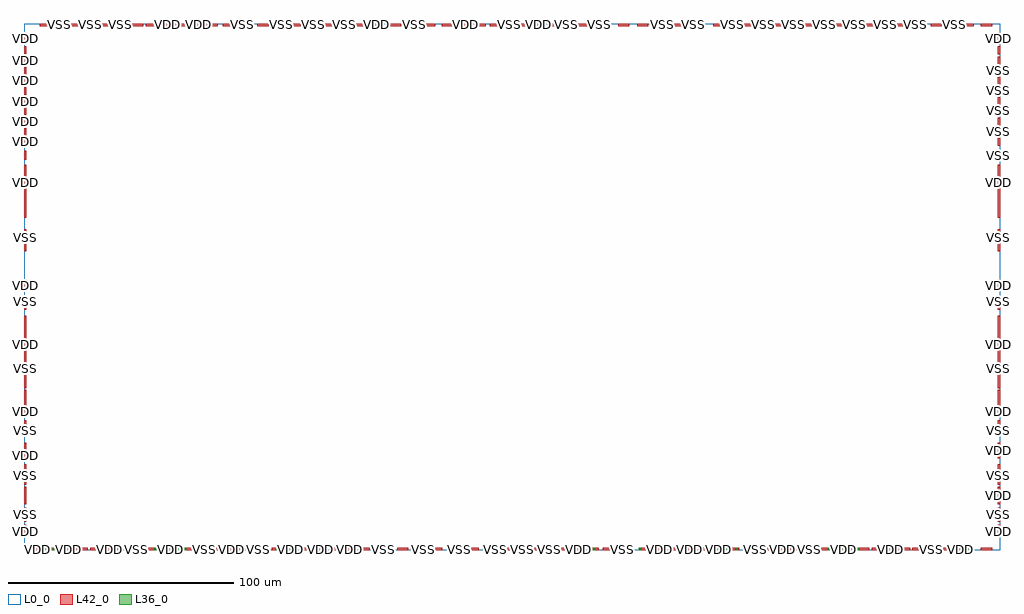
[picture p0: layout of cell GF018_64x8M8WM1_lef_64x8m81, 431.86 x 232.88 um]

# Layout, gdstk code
import gdstk
lib = gdstk.Library(unit=1e-6, precision=1e-09)
def R(c, l, rs):  # rectangles x0, y0, x1, y1
    for r in rs: c.add(gdstk.rectangle(r[:2], r[2:], *l))
def A(c, l, x, y, w, h, nx, ny, dx, dy):  # array of equal rectangles
    R(c, l, [(x+i*dx, y+j*dy, x+i*dx+w, y+j*dy+h) for i in range(nx) for j in range(ny)])
L0_0 = (0, 0)
L36_0 = (36, 0)
L42_0 = (42, 0)

gf018_64x8m8wm1_lef_64x8 = lib.new_cell('GF018_64x8M8WM1_lef_64x8m81')
R(gf018_64x8m8wm1_lef_64x8, L0_0, [(0,0,431.86,232.88)])
A(gf018_64x8m8wm1_lef_64x8, L42_0, 17.21, 0, 5, 1, 7, 1, 6, 0)
A(gf018_64x8m8wm1_lef_64x8, L42_0, 71.21, 0, 5, 1, 6, 1, 6, 0)
A(gf018_64x8m8wm1_lef_64x8, L42_0, 115.55, 0, 5, 1, 6, 1, 6.5, 0)
A(gf018_64x8m8wm1_lef_64x8, L42_0, 206.165, 0, 5, 1, 6, 1, 6, 0)
A(gf018_64x8m8wm1_lef_64x8, L42_0, 272.29, 0, 5, 1, 6, 1, 6.5, 0)
A(gf018_64x8m8wm1_lef_64x8, L42_0, 321.09, 0, 5, 1, 6, 1, 6, 0)
A(gf018_64x8m8wm1_lef_64x8, L42_0, 369.09, 0, 5, 1, 7, 1, 6, 0)
A(gf018_64x8m8wm1_lef_64x8, L42_0, 0, 178.88, 1, 3.5, 1, 10, 0, 4.5)
A(gf018_64x8m8wm1_lef_64x8, L42_0, 430.86, 178.88, 1, 3.5, 1, 10, 0, 4.5)
R(gf018_64x8m8wm1_lef_64x8, L42_0, [(3.53,0,8.53,1), (10.195,0,15.195,1), (62.215,0,67.215,1), (109.55,0,114.55,1), (156.62,0,161.62,1), (165.11,0,170.11,1), (174.155,0,179.155,1), (180.155,0,185.155,1), (190.14,0,195.14,1), (196.14,0,201.14,1), (242.83,0,247.83,1), (249.38,0,254.38,1), (256.165,0,261.165,1), (262.39,0,267.39,1), (311.475,0,316.475,1), (360.085,0,365.085,1), (412.095,0,417.095,1), (423.33,0,428.33,1), (0,6.16,1,11.16), (430.86,6.16,431.86,11.16), (0,12.51,1,18.86), (430.86,12.51,431.86,18.86), (0,20.3,1,28.145), (430.86,20.3,431.86,28.145), (0,28.83,1,37.98), (430.86,28.83,431.86,37.98), (0,40.76,1,47.575), (430.86,40.76,431.86,47.575), (0,50.88,1,57.465), (430.86,50.88,431.86,57.465), (0,60.18,1,70.89), (430.86,60.18,431.86,70.89), (0,71.64,1,88.65), (430.86,71.64,431.86,88.65), (0,90.08,1,103.695), (430.86,90.08,431.86,103.695), (0,106.41,1,111.41), (430.86,106.41,431.86,111.41), (0,114.69,1,119.69), (430.86,114.69,431.86,119.69), (0,132.175,1,142.08), (430.86,132.175,431.86,142.08), (0,147.15,1,170.625), (430.86,147.15,431.86,170.625), (0,172.68,1,176.63), (430.86,172.68,431.86,176.63), (0,223.88,1,228.88), (430.86,223.88,431.86,228.88), (7.005,231.88,12.005,232.88), (13.13,231.88,18.13,232.88), (20.685,231.88,25.685,232.88), (26.81,231.88,31.81,232.88), (34.005,231.88,39.005,232.88), (40.13,231.88,45.13,232.88), (47.685,231.88,52.685,232.88), (53.81,231.88,58.81,232.88), (61.005,231.88,66.005,232.88), (67.13,231.88,72.13,232.88), (74.685,231.88,79.685,232.88), (80.81,231.88,85.81,232.88), (88.005,231.88,93.005,232.88), (94.13,231.88,99.13,232.88), (103.265,231.88,108.265,232.88), (111.29,231.88,116.29,232.88), (117.415,231.88,122.415,232.88), (125.79,231.88,130.79,232.88), (132.86,231.88,137.86,232.88), (139.385,231.88,144.385,232.88), (146.365,231.88,151.365,232.88), (153.55,231.88,158.55,232.88), (161.905,231.88,166.905,232.88), (170.12,231.88,175.12,232.88), (177.075,231.88,182.075,232.88), (184.74,231.88,189.74,232.88), (192.925,231.88,197.925,232.88), (199.41,231.88,204.41,232.88), (206.15,231.88,211.15,232.88), (212.15,231.88,217.15,232.88), (218.565,231.88,223.565,232.88), (225.345,231.88,230.345,232.88), (231.565,231.88,236.565,232.88), (237.69,231.88,242.69,232.88), (244.505,231.88,249.505,232.88), (252.325,231.88,257.325,232.88), (262.845,231.88,267.845,232.88), (271.31,231.88,276.31,232.88), (279.95,231.88,284.95,232.88), (287.735,231.88,292.735,232.88), (293.955,231.88,298.955,232.88), (304.885,231.88,309.885,232.88), (311.01,231.88,316.01,232.88), (318.565,231.88,323.565,232.88), (324.69,231.88,329.69,232.88), (331.885,231.88,336.885,232.88), (338.01,231.88,343.01,232.88), (345.565,231.88,350.565,232.88), (351.69,231.88,356.69,232.88), (358.885,231.88,363.885,232.88), (365.01,231.88,370.01,232.88), (372.565,231.88,377.565,232.88), (378.69,231.88,383.69,232.88), (385.885,231.88,390.885,232.88), (392.01,231.88,397.01,232.88), (401.145,231.88,406.145,232.88), (409.17,231.88,414.17,232.88), (415.295,231.88,420.295,232.88), (423.33,231.88,428.33,232.88)])
gf018_64x8m8wm1_lef_64x8.add(gdstk.FlexPath([(67.83,0),(67.83,1)], 1.12, ends="flush", simple_path=True, layer=36, datatype=0))  # L36_0
gf018_64x8m8wm1_lef_64x8.add(gdstk.FlexPath([(65.83,0),(65.83,1)], 1.12, ends="flush", simple_path=True, layer=36, datatype=0))  # L36_0
gf018_64x8m8wm1_lef_64x8.add(gdstk.FlexPath([(154.855,0),(154.855,1)], 1.12, ends="flush", simple_path=True, layer=36, datatype=0))  # L36_0
gf018_64x8m8wm1_lef_64x8.add(gdstk.FlexPath([(163.32,0),(163.32,1)], 1.12, ends="flush", simple_path=True, layer=36, datatype=0))  # L36_0
gf018_64x8m8wm1_lef_64x8.add(gdstk.FlexPath([(171.775,0),(171.775,1)], 1.12, ends="flush", simple_path=True, layer=36, datatype=0))  # L36_0
gf018_64x8m8wm1_lef_64x8.add(gdstk.FlexPath([(203.5,0),(203.5,1)], 1.12, ends="flush", simple_path=True, layer=36, datatype=0))  # L36_0
gf018_64x8m8wm1_lef_64x8.add(gdstk.FlexPath([(252.27,0),(252.27,1)], 1.12, ends="flush", simple_path=True, layer=36, datatype=0))  # L36_0
gf018_64x8m8wm1_lef_64x8.add(gdstk.FlexPath([(272.645,0),(272.645,1)], 1.12, ends="flush", simple_path=True, layer=36, datatype=0))  # L36_0
gf018_64x8m8wm1_lef_64x8.add(gdstk.FlexPath([(276.38,0),(276.38,1)], 1.12, ends="flush", simple_path=True, layer=36, datatype=0))  # L36_0
gf018_64x8m8wm1_lef_64x8.add(gdstk.FlexPath([(281.885,0),(281.885,1)], 1.12, ends="flush", simple_path=True, layer=36, datatype=0))  # L36_0
gf018_64x8m8wm1_lef_64x8.add(gdstk.FlexPath([(307.795,0),(307.795,1)], 1.12, ends="flush", simple_path=True, layer=36, datatype=0))  # L36_0
gf018_64x8m8wm1_lef_64x8.add(gdstk.FlexPath([(311.135,0),(311.135,1)], 1.12, ends="flush", simple_path=True, layer=36, datatype=0))  # L36_0
gf018_64x8m8wm1_lef_64x8.add(gdstk.FlexPath([(315.35,0),(315.35,1)], 1.12, ends="flush", simple_path=True, layer=36, datatype=0))  # L36_0
gf018_64x8m8wm1_lef_64x8.add(gdstk.FlexPath([(356.105,0),(356.105,1)], 1.12, ends="flush", simple_path=True, layer=36, datatype=0))  # L36_0
gf018_64x8m8wm1_lef_64x8.add(gdstk.FlexPath([(359.47,0),(359.47,1)], 1.12, ends="flush", simple_path=True, layer=36, datatype=0))  # L36_0
gf018_64x8m8wm1_lef_64x8.add(gdstk.FlexPath([(361.46,0),(361.46,1)], 1.12, ends="flush", simple_path=True, layer=36, datatype=0))  # L36_0
gf018_64x8m8wm1_lef_64x8.add(gdstk.FlexPath([(363.71,0),(363.71,1)], 1.12, ends="flush", simple_path=True, layer=36, datatype=0))  # L36_0
gf018_64x8m8wm1_lef_64x8.add(gdstk.FlexPath([(365.71,0),(365.71,1)], 1.12, ends="flush", simple_path=True, layer=36, datatype=0))  # L36_0
gf018_64x8m8wm1_lef_64x8.add(gdstk.FlexPath([(369.075,0),(369.075,1)], 1.12, ends="flush", simple_path=True, layer=36, datatype=0))  # L36_0
gf018_64x8m8wm1_lef_64x8.add(gdstk.FlexPath([(409.835,0),(409.835,1)], 1.12, ends="flush", simple_path=True, layer=36, datatype=0))  # L36_0
gf018_64x8m8wm1_lef_64x8.add(gdstk.FlexPath([(414.035,0),(414.035,1)], 1.12, ends="flush", simple_path=True, layer=36, datatype=0))  # L36_0
gf018_64x8m8wm1_lef_64x8.add(gdstk.FlexPath([(71.195,0),(71.195,1)], 1.12, ends="flush", simple_path=True, layer=36, datatype=0))  # L36_0
gf018_64x8m8wm1_lef_64x8.add(gdstk.FlexPath([(111.955,0),(111.955,1)], 1.12, ends="flush", simple_path=True, layer=36, datatype=0))  # L36_0
gf018_64x8m8wm1_lef_64x8.add(gdstk.FlexPath([(117.58,0),(117.58,1)], 1.12, ends="flush", simple_path=True, layer=36, datatype=0))  # L36_0
gf018_64x8m8wm1_lef_64x8.add(gdstk.FlexPath([(119.535,0),(119.535,1)], 1.12, ends="flush", simple_path=True, layer=36, datatype=0))  # L36_0
gf018_64x8m8wm1_lef_64x8.add(gdstk.FlexPath([(140.24,0),(140.24,1)], 1.12, ends="flush", simple_path=True, layer=36, datatype=0))  # L36_0
gf018_64x8m8wm1_lef_64x8.add(gdstk.FlexPath([(417.42,0),(417.42,1)], 1.12, ends="flush", simple_path=True, layer=36, datatype=0))  # L36_0
gf018_64x8m8wm1_lef_64x8.add(gdstk.FlexPath([(9.88,0),(9.88,1)], 1.12, ends="flush", simple_path=True, layer=36, datatype=0))  # L36_0
gf018_64x8m8wm1_lef_64x8.add(gdstk.FlexPath([(13.255,0),(13.255,1)], 1.12, ends="flush", simple_path=True, layer=36, datatype=0))  # L36_0
gf018_64x8m8wm1_lef_64x8.add(gdstk.FlexPath([(17.46,0),(17.46,1)], 1.12, ends="flush", simple_path=True, layer=36, datatype=0))  # L36_0
gf018_64x8m8wm1_lef_64x8.add(gdstk.FlexPath([(58.225,0),(58.225,1)], 1.12, ends="flush", simple_path=True, layer=36, datatype=0))  # L36_0
gf018_64x8m8wm1_lef_64x8.add(gdstk.FlexPath([(61.59,0),(61.59,1)], 1.12, ends="flush", simple_path=True, layer=36, datatype=0))  # L36_0
gf018_64x8m8wm1_lef_64x8.add(gdstk.FlexPath([(63.58,0),(63.58,1)], 1.12, ends="flush", simple_path=True, layer=36, datatype=0))  # L36_0
gf018_64x8m8wm1_lef_64x8.add(gdstk.Label('VDD', (431.4,117.12), layer=42, texttype=10))
gf018_64x8m8wm1_lef_64x8.add(gdstk.Label('VSS', (431.4,194.45), layer=42, texttype=10))
gf018_64x8m8wm1_lef_64x8.add(gdstk.Label('VSS', (431.4,174.47), layer=42, texttype=10))
gf018_64x8m8wm1_lef_64x8.add(gdstk.Label('VSS', (354.19,232.415), layer=42, texttype=10))
gf018_64x8m8wm1_lef_64x8.add(gdstk.Label('VSS', (431.4,185.45), layer=42, texttype=10))
gf018_64x8m8wm1_lef_64x8.add(gdstk.Label('VSS', (313.51,232.415), layer=42, texttype=10))
gf018_64x8m8wm1_lef_64x8.add(gdstk.Label('VSS', (411.67,232.415), layer=42, texttype=10))
gf018_64x8m8wm1_lef_64x8.add(gdstk.Label('VSS', (381.19,232.415), layer=42, texttype=10))
gf018_64x8m8wm1_lef_64x8.add(gdstk.Label('VSS', (296.455,232.415), layer=42, texttype=10))
gf018_64x8m8wm1_lef_64x8.add(gdstk.Label('VDD', (227.845,232.415), layer=42, texttype=10))
gf018_64x8m8wm1_lef_64x8.add(gdstk.Label('VDD', (234.065,232.415), layer=42, texttype=10))
gf018_64x8m8wm1_lef_64x8.add(gdstk.Label('VSS', (221.065,232.415), layer=42, texttype=10))
gf018_64x8m8wm1_lef_64x8.add(gdstk.Label('VSS', (254.825,232.415), layer=42, texttype=10))
gf018_64x8m8wm1_lef_64x8.add(gdstk.Label('VDD', (417.795,232.415), layer=42, texttype=10))
gf018_64x8m8wm1_lef_64x8.add(gdstk.Label('VDD', (388.385,232.415), layer=42, texttype=10))
gf018_64x8m8wm1_lef_64x8.add(gdstk.Label('VDD', (348.065,232.415), layer=42, texttype=10))
gf018_64x8m8wm1_lef_64x8.add(gdstk.Label('VDD', (307.385,232.415), layer=42, texttype=10))
gf018_64x8m8wm1_lef_64x8.add(gdstk.Label('VDD', (403.645,232.415), layer=42, texttype=10))
gf018_64x8m8wm1_lef_64x8.add(gdstk.Label('VDD', (290.235,232.415), layer=42, texttype=10))
gf018_64x8m8wm1_lef_64x8.add(gdstk.Label('VSS', (240.19,232.415), layer=42, texttype=10))
gf018_64x8m8wm1_lef_64x8.add(gdstk.Label('VDD', (265.345,232.415), layer=42, texttype=10))
gf018_64x8m8wm1_lef_64x8.add(gdstk.Label('VSS', (282.45,232.415), layer=42, texttype=10))
gf018_64x8m8wm1_lef_64x8.add(gdstk.Label('VDD', (431.4,226.38), layer=42, texttype=10))
gf018_64x8m8wm1_lef_64x8.add(gdstk.Label('VDD', (273.81,232.415), layer=42, texttype=10))
gf018_64x8m8wm1_lef_64x8.add(gdstk.Label('VDD', (247.005,232.415), layer=42, texttype=10))
gf018_64x8m8wm1_lef_64x8.add(gdstk.Label('VDD', (375.065,232.415), layer=42, texttype=10))
gf018_64x8m8wm1_lef_64x8.add(gdstk.Label('VDD', (431.4,198.63), layer=42, texttype=10))
gf018_64x8m8wm1_lef_64x8.add(gdstk.Label('VSS', (431.4,212.45), layer=42, texttype=10))
gf018_64x8m8wm1_lef_64x8.add(gdstk.Label('VDD', (321.065,232.415), layer=42, texttype=10))
gf018_64x8m8wm1_lef_64x8.add(gdstk.Label('VDD', (431.4,207.63), layer=42, texttype=10))
gf018_64x8m8wm1_lef_64x8.add(gdstk.Label('VDD', (361.385,232.415), layer=42, texttype=10))
gf018_64x8m8wm1_lef_64x8.add(gdstk.Label('VDD', (425.83,232.415), layer=42, texttype=10))
gf018_64x8m8wm1_lef_64x8.add(gdstk.Label('VDD', (431.4,216.63), layer=42, texttype=10))
gf018_64x8m8wm1_lef_64x8.add(gdstk.Label('VSS', (431.4,203.45), layer=42, texttype=10))
gf018_64x8m8wm1_lef_64x8.add(gdstk.Label('VSS', (431.4,221.45), layer=42, texttype=10))
gf018_64x8m8wm1_lef_64x8.add(gdstk.Label('VSS', (340.51,232.415), layer=42, texttype=10))
gf018_64x8m8wm1_lef_64x8.add(gdstk.Label('VSS', (367.51,232.415), layer=42, texttype=10))
gf018_64x8m8wm1_lef_64x8.add(gdstk.Label('VSS', (327.19,232.415), layer=42, texttype=10))
gf018_64x8m8wm1_lef_64x8.add(gdstk.Label('VSS', (394.51,232.415), layer=42, texttype=10))
gf018_64x8m8wm1_lef_64x8.add(gdstk.Label('VDD', (431.4,162.595), layer=42, texttype=10))
gf018_64x8m8wm1_lef_64x8.add(gdstk.Label('VDD', (431.4,189.63), layer=42, texttype=10))
gf018_64x8m8wm1_lef_64x8.add(gdstk.Label('VDD', (431.4,180.63), layer=42, texttype=10))
gf018_64x8m8wm1_lef_64x8.add(gdstk.Label('VSS', (431.4,138.295), layer=42, texttype=10))
gf018_64x8m8wm1_lef_64x8.add(gdstk.Label('VDD', (334.385,232.415), layer=42, texttype=10))
gf018_64x8m8wm1_lef_64x8.add(gdstk.Label('VDD', (63.505,232.415), layer=42, texttype=10))
gf018_64x8m8wm1_lef_64x8.add(gdstk.Label('VSS', (15.63,232.415), layer=42, texttype=10))
gf018_64x8m8wm1_lef_64x8.add(gdstk.Label('VSS', (69.63,232.415), layer=42, texttype=10))
gf018_64x8m8wm1_lef_64x8.add(gdstk.Label('VSS', (96.63,232.415), layer=42, texttype=10))
gf018_64x8m8wm1_lef_64x8.add(gdstk.Label('VSS', (141.885,232.415), layer=42, texttype=10))
gf018_64x8m8wm1_lef_64x8.add(gdstk.Label('VSS', (214.65,232.415), layer=42, texttype=10))
gf018_64x8m8wm1_lef_64x8.add(gdstk.Label('VSS', (172.62,232.415), layer=42, texttype=10))
gf018_64x8m8wm1_lef_64x8.add(gdstk.Label('VDD', (77.185,232.415), layer=42, texttype=10))
gf018_64x8m8wm1_lef_64x8.add(gdstk.Label('VSS', (56.31,232.415), layer=42, texttype=10))
gf018_64x8m8wm1_lef_64x8.add(gdstk.Label('VDD', (195.425,232.415), layer=42, texttype=10))
gf018_64x8m8wm1_lef_64x8.add(gdstk.Label('VDD', (23.185,232.415), layer=42, texttype=10))
gf018_64x8m8wm1_lef_64x8.add(gdstk.Label('VDD', (156.05,232.415), layer=42, texttype=10))
gf018_64x8m8wm1_lef_64x8.add(gdstk.Label('VSS', (42.63,232.415), layer=42, texttype=10))
gf018_64x8m8wm1_lef_64x8.add(gdstk.Label('VDD', (208.65,232.415), layer=42, texttype=10))
gf018_64x8m8wm1_lef_64x8.add(gdstk.Label('VDD', (179.575,232.415), layer=42, texttype=10))
gf018_64x8m8wm1_lef_64x8.add(gdstk.Label('VSS', (128.29,232.415), layer=42, texttype=10))
gf018_64x8m8wm1_lef_64x8.add(gdstk.Label('VDD', (119.915,232.415), layer=42, texttype=10))
gf018_64x8m8wm1_lef_64x8.add(gdstk.Label('VSS', (201.91,232.415), layer=42, texttype=10))
gf018_64x8m8wm1_lef_64x8.add(gdstk.Label('VSS', (187.24,232.415), layer=42, texttype=10))
gf018_64x8m8wm1_lef_64x8.add(gdstk.Label('VDD', (50.185,232.415), layer=42, texttype=10))
gf018_64x8m8wm1_lef_64x8.add(gdstk.Label('VSS', (113.79,232.415), layer=42, texttype=10))
gf018_64x8m8wm1_lef_64x8.add(gdstk.Label('VDD', (9.505,232.415), layer=42, texttype=10))
gf018_64x8m8wm1_lef_64x8.add(gdstk.Label('VSS', (29.31,232.415), layer=42, texttype=10))
gf018_64x8m8wm1_lef_64x8.add(gdstk.Label('VSS', (83.31,232.415), layer=42, texttype=10))
gf018_64x8m8wm1_lef_64x8.add(gdstk.Label('VSS', (148.865,232.415), layer=42, texttype=10))
gf018_64x8m8wm1_lef_64x8.add(gdstk.Label('VDD', (0.5,189.63), layer=42, texttype=10))
gf018_64x8m8wm1_lef_64x8.add(gdstk.Label('VSS', (0.5,185.45), layer=42, texttype=10))
gf018_64x8m8wm1_lef_64x8.add(gdstk.Label('VDD', (0.5,180.63), layer=42, texttype=10))
gf018_64x8m8wm1_lef_64x8.add(gdstk.Label('VSS', (0.5,174.47), layer=42, texttype=10))
gf018_64x8m8wm1_lef_64x8.add(gdstk.Label('VDD', (0.5,162.595), layer=42, texttype=10))
gf018_64x8m8wm1_lef_64x8.add(gdstk.Label('VSS', (0.5,138.295), layer=42, texttype=10))
gf018_64x8m8wm1_lef_64x8.add(gdstk.Label('VDD', (0.5,117.12), layer=42, texttype=10))
gf018_64x8m8wm1_lef_64x8.add(gdstk.Label('VDD', (0.5,226.38), layer=42, texttype=10))
gf018_64x8m8wm1_lef_64x8.add(gdstk.Label('VSS', (0.5,221.45), layer=42, texttype=10))
gf018_64x8m8wm1_lef_64x8.add(gdstk.Label('VDD', (0.5,216.63), layer=42, texttype=10))
gf018_64x8m8wm1_lef_64x8.add(gdstk.Label('VSS', (0.5,212.45), layer=42, texttype=10))
gf018_64x8m8wm1_lef_64x8.add(gdstk.Label('VDD', (0.5,207.63), layer=42, texttype=10))
gf018_64x8m8wm1_lef_64x8.add(gdstk.Label('VSS', (0.5,203.45), layer=42, texttype=10))
gf018_64x8m8wm1_lef_64x8.add(gdstk.Label('VDD', (0.5,198.63), layer=42, texttype=10))
gf018_64x8m8wm1_lef_64x8.add(gdstk.Label('VSS', (0.5,194.45), layer=42, texttype=10))
gf018_64x8m8wm1_lef_64x8.add(gdstk.Label('VDD', (90.505,232.415), layer=42, texttype=10))
gf018_64x8m8wm1_lef_64x8.add(gdstk.Label('VDD', (105.765,232.415), layer=42, texttype=10))
gf018_64x8m8wm1_lef_64x8.add(gdstk.Label('VDD', (135.36,232.415), layer=42, texttype=10))
gf018_64x8m8wm1_lef_64x8.add(gdstk.Label('VDD', (36.505,232.415), layer=42, texttype=10))
gf018_64x8m8wm1_lef_64x8.add(gdstk.Label('VSS', (164.405,232.415), layer=42, texttype=10))
gf018_64x8m8wm1_lef_64x8.add(gdstk.Label('VSS', (0.5,15.815), layer=42, texttype=10))
gf018_64x8m8wm1_lef_64x8.add(gdstk.Label('VDD', (0.5,8.445), layer=42, texttype=10))
gf018_64x8m8wm1_lef_64x8.add(gdstk.Label('VDD', (19.71,0.5), layer=42, texttype=10))
gf018_64x8m8wm1_lef_64x8.add(gdstk.Label('VSS', (0.5,80.175), layer=42, texttype=10))
gf018_64x8m8wm1_lef_64x8.add(gdstk.Label('VSS', (0.5,53.14), layer=42, texttype=10))
gf018_64x8m8wm1_lef_64x8.add(gdstk.Label('VDD', (0.5,61.195), layer=42, texttype=10))
gf018_64x8m8wm1_lef_64x8.add(gdstk.Label('VSS', (79.715,0.5), layer=42, texttype=10))
gf018_64x8m8wm1_lef_64x8.add(gdstk.Label('VSS', (159.115,0.5), layer=42, texttype=10))
gf018_64x8m8wm1_lef_64x8.add(gdstk.Label('VSS', (167.605,0.5), layer=42, texttype=10))
gf018_64x8m8wm1_lef_64x8.add(gdstk.Label('VSS', (176.66,0.5), layer=42, texttype=10))
gf018_64x8m8wm1_lef_64x8.add(gdstk.Label('VSS', (192.645,0.5), layer=42, texttype=10))
gf018_64x8m8wm1_lef_64x8.add(gdstk.Label('VSS', (208.665,0.5), layer=42, texttype=10))
gf018_64x8m8wm1_lef_64x8.add(gdstk.Label('VDD', (0.5,41.775), layer=42, texttype=10))
gf018_64x8m8wm1_lef_64x8.add(gdstk.Label('VSS', (0.5,32.985), layer=42, texttype=10))
gf018_64x8m8wm1_lef_64x8.add(gdstk.Label('VSS', (0.5,110.19), layer=42, texttype=10))
gf018_64x8m8wm1_lef_64x8.add(gdstk.Label('VDD', (0.5,91.095), layer=42, texttype=10))
gf018_64x8m8wm1_lef_64x8.add(gdstk.Label('VDD', (6.03,0.5), layer=42, texttype=10))
gf018_64x8m8wm1_lef_64x8.add(gdstk.Label('VSS', (49.705,0.5), layer=42, texttype=10))
gf018_64x8m8wm1_lef_64x8.add(gdstk.Label('VSS', (103.705,0.5), layer=42, texttype=10))
gf018_64x8m8wm1_lef_64x8.add(gdstk.Label('VDD', (144.05,0.5), layer=42, texttype=10))
gf018_64x8m8wm1_lef_64x8.add(gdstk.Label('VDD', (112.05,0.5), layer=42, texttype=10))
gf018_64x8m8wm1_lef_64x8.add(gdstk.Label('VDD', (118.05,0.5), layer=42, texttype=10))
gf018_64x8m8wm1_lef_64x8.add(gdstk.Label('VDD', (124.55,0.5), layer=42, texttype=10))
gf018_64x8m8wm1_lef_64x8.add(gdstk.Label('VDD', (131.05,0.5), layer=42, texttype=10))
gf018_64x8m8wm1_lef_64x8.add(gdstk.Label('VDD', (137.55,0.5), layer=42, texttype=10))
gf018_64x8m8wm1_lef_64x8.add(gdstk.Label('VDD', (12.695,0.5), layer=42, texttype=10))
gf018_64x8m8wm1_lef_64x8.add(gdstk.Label('VDD', (182.655,0.5), layer=42, texttype=10))
gf018_64x8m8wm1_lef_64x8.add(gdstk.Label('VDD', (198.64,0.5), layer=42, texttype=10))
gf018_64x8m8wm1_lef_64x8.add(gdstk.Label('VDD', (214.665,0.5), layer=42, texttype=10))
gf018_64x8m8wm1_lef_64x8.add(gdstk.Label('VDD', (31.71,0.5), layer=42, texttype=10))
gf018_64x8m8wm1_lef_64x8.add(gdstk.Label('VDD', (37.71,0.5), layer=42, texttype=10))
gf018_64x8m8wm1_lef_64x8.add(gdstk.Label('VDD', (43.71,0.5), layer=42, texttype=10))
gf018_64x8m8wm1_lef_64x8.add(gdstk.Label('VDD', (55.71,0.5), layer=42, texttype=10))
gf018_64x8m8wm1_lef_64x8.add(gdstk.Label('VDD', (64.715,0.5), layer=42, texttype=10))
gf018_64x8m8wm1_lef_64x8.add(gdstk.Label('VDD', (73.71,0.5), layer=42, texttype=10))
gf018_64x8m8wm1_lef_64x8.add(gdstk.Label('VDD', (85.71,0.5), layer=42, texttype=10))
gf018_64x8m8wm1_lef_64x8.add(gdstk.Label('VDD', (91.71,0.5), layer=42, texttype=10))
gf018_64x8m8wm1_lef_64x8.add(gdstk.Label('VDD', (97.71,0.5), layer=42, texttype=10))
gf018_64x8m8wm1_lef_64x8.add(gdstk.Label('VSS', (25.715,0.5), layer=42, texttype=10))
gf018_64x8m8wm1_lef_64x8.add(gdstk.Label('VDD', (150.55,0.5), layer=42, texttype=10))
gf018_64x8m8wm1_lef_64x8.add(gdstk.Label('VDD', (0.5,21.315), layer=42, texttype=10))
gf018_64x8m8wm1_lef_64x8.add(gdstk.Label('VDD', (362.585,0.5), layer=42, texttype=10))
gf018_64x8m8wm1_lef_64x8.add(gdstk.Label('VDD', (371.59,0.5), layer=42, texttype=10))
gf018_64x8m8wm1_lef_64x8.add(gdstk.Label('VDD', (383.59,0.5), layer=42, texttype=10))
gf018_64x8m8wm1_lef_64x8.add(gdstk.Label('VDD', (431.4,24.22), layer=42, texttype=10))
gf018_64x8m8wm1_lef_64x8.add(gdstk.Label('VSS', (431.4,15.815), layer=42, texttype=10))
gf018_64x8m8wm1_lef_64x8.add(gdstk.Label('VSS', (431.4,80.175), layer=42, texttype=10))
gf018_64x8m8wm1_lef_64x8.add(gdstk.Label('VDD', (431.4,8.445), layer=42, texttype=10))
gf018_64x8m8wm1_lef_64x8.add(gdstk.Label('VSS', (431.4,53.14), layer=42, texttype=10))
gf018_64x8m8wm1_lef_64x8.add(gdstk.Label('VSS', (431.4,32.985), layer=42, texttype=10))
gf018_64x8m8wm1_lef_64x8.add(gdstk.Label('VDD', (335.59,0.5), layer=42, texttype=10))
gf018_64x8m8wm1_lef_64x8.add(gdstk.Label('VDD', (414.595,0.5), layer=42, texttype=10))
gf018_64x8m8wm1_lef_64x8.add(gdstk.Label('VDD', (329.59,0.5), layer=42, texttype=10))
gf018_64x8m8wm1_lef_64x8.add(gdstk.Label('VDD', (307.29,0.5), layer=42, texttype=10))
gf018_64x8m8wm1_lef_64x8.add(gdstk.Label('VDD', (425.83,0.5), layer=42, texttype=10))
gf018_64x8m8wm1_lef_64x8.add(gdstk.Label('VDD', (395.59,0.5), layer=42, texttype=10))
gf018_64x8m8wm1_lef_64x8.add(gdstk.Label('VDD', (407.59,0.5), layer=42, texttype=10))
gf018_64x8m8wm1_lef_64x8.add(gdstk.Label('VDD', (389.59,0.5), layer=42, texttype=10))
gf018_64x8m8wm1_lef_64x8.add(gdstk.Label('VDD', (431.4,61.195), layer=42, texttype=10))
gf018_64x8m8wm1_lef_64x8.add(gdstk.Label('VSS', (264.895,0.5), layer=42, texttype=10))
gf018_64x8m8wm1_lef_64x8.add(gdstk.Label('VSS', (401.59,0.5), layer=42, texttype=10))
gf018_64x8m8wm1_lef_64x8.add(gdstk.Label('VSS', (232.665,0.5), layer=42, texttype=10))
gf018_64x8m8wm1_lef_64x8.add(gdstk.Label('VSS', (258.665,0.5), layer=42, texttype=10))
gf018_64x8m8wm1_lef_64x8.add(gdstk.Label('VDD', (294.29,0.5), layer=42, texttype=10))
gf018_64x8m8wm1_lef_64x8.add(gdstk.Label('VDD', (281.29,0.5), layer=42, texttype=10))
gf018_64x8m8wm1_lef_64x8.add(gdstk.Label('VDD', (287.79,0.5), layer=42, texttype=10))
gf018_64x8m8wm1_lef_64x8.add(gdstk.Label('VDD', (300.79,0.5), layer=42, texttype=10))
gf018_64x8m8wm1_lef_64x8.add(gdstk.Label('VDD', (431.4,43.985), layer=42, texttype=10))
gf018_64x8m8wm1_lef_64x8.add(gdstk.Label('VSS', (431.4,110.19), layer=42, texttype=10))
gf018_64x8m8wm1_lef_64x8.add(gdstk.Label('VDD', (431.4,91.095), layer=42, texttype=10))
gf018_64x8m8wm1_lef_64x8.add(gdstk.Label('VDD', (313.975,0.5), layer=42, texttype=10))
gf018_64x8m8wm1_lef_64x8.add(gdstk.Label('VDD', (226.665,0.5), layer=42, texttype=10))
gf018_64x8m8wm1_lef_64x8.add(gdstk.Label('VDD', (238.665,0.5), layer=42, texttype=10))
gf018_64x8m8wm1_lef_64x8.add(gdstk.Label('VSS', (220.665,0.5), layer=42, texttype=10))
gf018_64x8m8wm1_lef_64x8.add(gdstk.Label('VDD', (341.59,0.5), layer=42, texttype=10))
gf018_64x8m8wm1_lef_64x8.add(gdstk.Label('VDD', (274.79,0.5), layer=42, texttype=10))
gf018_64x8m8wm1_lef_64x8.add(gdstk.Label('VSS', (347.59,0.5), layer=42, texttype=10))
gf018_64x8m8wm1_lef_64x8.add(gdstk.Label('VSS', (323.59,0.5), layer=42, texttype=10))
gf018_64x8m8wm1_lef_64x8.add(gdstk.Label('VSS', (377.59,0.5), layer=42, texttype=10))
gf018_64x8m8wm1_lef_64x8.add(gdstk.Label('VDD', (245.33,0.5), layer=42, texttype=10))
gf018_64x8m8wm1_lef_64x8.add(gdstk.Label('VDD', (353.59,0.5), layer=42, texttype=10))
gf018_64x8m8wm1_lef_64x8.add(gdstk.Label('VDD', (251.88,0.5), layer=42, texttype=10))
gf018_64x8m8wm1_lef_64x8.add(gdstk.Label('CLK', (140.24,0.5), layer=36, texttype=10))
gf018_64x8m8wm1_lef_64x8.add(gdstk.Label('D[0]', (9.88,0.5), layer=36, texttype=10))
gf018_64x8m8wm1_lef_64x8.add(gdstk.Label('A[2]', (154.855,0.5), layer=36, texttype=10))
gf018_64x8m8wm1_lef_64x8.add(gdstk.Label('A[1]', (163.32,0.5), layer=36, texttype=10))
gf018_64x8m8wm1_lef_64x8.add(gdstk.Label('A[0]', (171.775,0.5), layer=36, texttype=10))
gf018_64x8m8wm1_lef_64x8.add(gdstk.Label('Q[2]', (71.195,0.5), layer=36, texttype=10))
gf018_64x8m8wm1_lef_64x8.add(gdstk.Label('Q[3]', (111.955,0.5), layer=36, texttype=10))
gf018_64x8m8wm1_lef_64x8.add(gdstk.Label('CEN', (252.27,0.5), layer=36, texttype=10))
gf018_64x8m8wm1_lef_64x8.add(gdstk.Label('A[5]', (272.645,0.5), layer=36, texttype=10))
gf018_64x8m8wm1_lef_64x8.add(gdstk.Label('A[4]', (276.38,0.5), layer=36, texttype=10))
gf018_64x8m8wm1_lef_64x8.add(gdstk.Label('WEN[3]', (117.58,0.5), layer=36, texttype=10))
gf018_64x8m8wm1_lef_64x8.add(gdstk.Label('D[7]', (417.42,0.5), layer=36, texttype=10))
gf018_64x8m8wm1_lef_64x8.add(gdstk.Label('Q[7]', (409.835,0.5), layer=36, texttype=10))
gf018_64x8m8wm1_lef_64x8.add(gdstk.Label('D[3]', (119.535,0.5), layer=36, texttype=10))
gf018_64x8m8wm1_lef_64x8.add(gdstk.Label('D[1]', (61.59,0.5), layer=36, texttype=10))
gf018_64x8m8wm1_lef_64x8.add(gdstk.Label('D[2]', (67.83,0.5), layer=36, texttype=10))
gf018_64x8m8wm1_lef_64x8.add(gdstk.Label('A[3]', (281.885,0.5), layer=36, texttype=10))
gf018_64x8m8wm1_lef_64x8.add(gdstk.Label('Q[1]', (58.225,0.5), layer=36, texttype=10))
gf018_64x8m8wm1_lef_64x8.add(gdstk.Label('Q[6]', (369.075,0.5), layer=36, texttype=10))
gf018_64x8m8wm1_lef_64x8.add(gdstk.Label('D[5]', (359.47,0.5), layer=36, texttype=10))
gf018_64x8m8wm1_lef_64x8.add(gdstk.Label('Q[4]', (315.35,0.5), layer=36, texttype=10))
gf018_64x8m8wm1_lef_64x8.add(gdstk.Label('WEN[5]', (361.46,0.5), layer=36, texttype=10))
gf018_64x8m8wm1_lef_64x8.add(gdstk.Label('WEN[2]', (65.83,0.5), layer=36, texttype=10))
gf018_64x8m8wm1_lef_64x8.add(gdstk.Label('WEN[1]', (63.58,0.5), layer=36, texttype=10))
gf018_64x8m8wm1_lef_64x8.add(gdstk.Label('WEN[4]', (311.135,0.5), layer=36, texttype=10))
gf018_64x8m8wm1_lef_64x8.add(gdstk.Label('WEN[7]', (414.035,0.5), layer=36, texttype=10))
gf018_64x8m8wm1_lef_64x8.add(gdstk.Label('WEN[6]', (363.71,0.5), layer=36, texttype=10))
gf018_64x8m8wm1_lef_64x8.add(gdstk.Label('D[4]', (307.795,0.5), layer=36, texttype=10))
gf018_64x8m8wm1_lef_64x8.add(gdstk.Label('D[6]', (365.71,0.5), layer=36, texttype=10))
gf018_64x8m8wm1_lef_64x8.add(gdstk.Label('Q[5]', (356.105,0.5), layer=36, texttype=10))
gf018_64x8m8wm1_lef_64x8.add(gdstk.Label('Q[0]', (17.46,0.5), layer=36, texttype=10))
gf018_64x8m8wm1_lef_64x8.add(gdstk.Label('GWEN', (203.5,0.5), layer=36, texttype=10))
gf018_64x8m8wm1_lef_64x8.add(gdstk.Label('WEN[0]', (13.255,0.5), layer=36, texttype=10))

lib.write_gds('GF018_64x8M8WM1_lef_64x8m81.gds')
